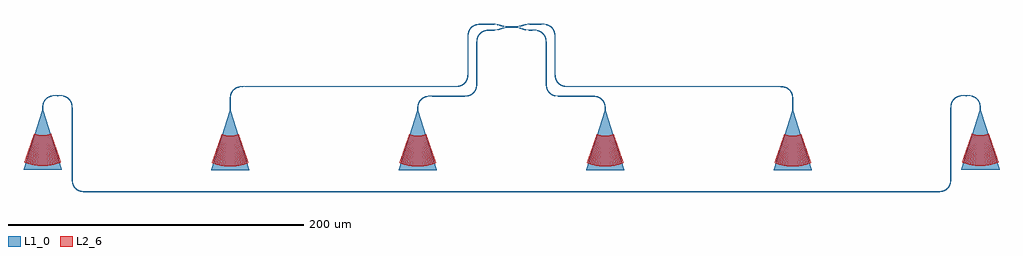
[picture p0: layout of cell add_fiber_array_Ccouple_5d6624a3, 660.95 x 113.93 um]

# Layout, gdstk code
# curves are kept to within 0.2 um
from math import pi, radians
import gdstk
lib = gdstk.Library(unit=1e-6, precision=1e-09)
def R(c, l, rs):  # rectangles x0, y0, x1, y1
    for r in rs: c.add(gdstk.rectangle(r[:2], r[2:], *l))
def P(c, l, *ps):  # polygons
    for p in ps: c.add(gdstk.Polygon(p, *l))
L1_0 = (1, 0)
L2_6 = (2, 6)

coupler_g0p2_l5_cscoupl_ = lib.new_cell('coupler_G0p2_L5_CScoupl_9e7e85dc')
P(coupler_g0p2_l5_cscoupl_, L1_0, [(-10,-1.9),(-10,-1.4),(-8.633,-1.353),(-7.417,-1.209),(-6.25,-0.951),(-3.066,-0.022),(-1.653,0.181),(-0.303,0.248),(5.303,0.248),(6.892,0.157),(8.621,-0.148),(12.033,-1.138),(13.392,-1.333),(15,-1.4),(15,-1.9),(13.596,-1.851),(11.65,-1.567),(8.5,-0.633),(6.952,-0.352),(5.297,-0.252),(-0.44,-0.254),(-1.839,-0.34),(-3.059,-0.531),(-6.033,-1.41),(-7.335,-1.702),(-8.596,-1.851)],
  [(0,0.45),(-1.404,0.499),(-2.665,0.648),(-3.967,0.94),(-7.033,1.838),(-8.392,2.033),(-10,2.1),(-10,2.6),(-8.596,2.551),(-7.335,2.402),(-6.033,2.11),(-2.967,1.212),(-1.608,1.017),(0,0.95),(5.44,0.954),(6.952,1.052),(8.5,1.333),(12.032,2.347),(13.347,2.531),(15,2.6),(15,2.1),(13.392,2.033),(12.033,1.838),(8.709,0.871),(7.346,0.599),(5.451,0.455)])

bend_euler_rnone_a90_p0_ = lib.new_cell('bend_euler_RNone_A90_P0_cdb65609')
P(bend_euler_rnone_a90_p0_, L1_0, [(0,-0.25),(0,0.25),(2.881,0.353),(3.952,0.52),(4.99,0.806),(6.431,1.505),(7.575,2.425),(8.495,3.569),(9.194,5.01),(9.48,6.048),(9.647,7.119),(9.75,10),(10.25,10),(10.158,7.205),(9.797,5.254),(9.457,4.312),(9.066,3.545),(8.5,2.715),(7.928,2.072),(7.285,1.5),(6.455,0.934),(5.688,0.543),(4.746,0.203),(2.795,-0.158)])

straight_l1_n2_csxs_34e_ = lib.new_cell('straight_L1_N2_CSxs_34e_6435d71a')
R(straight_l1_n2_csxs_34e_, L1_0, [(0,-0.25,1,0.25)])

straight_l0p5_n2_csxs_3_ = lib.new_cell('straight_L0p5_N2_CSxs_3_84792e4e')
R(straight_l0p5_n2_csxs_3_, L1_0, [(0,-0.25,0.5,0.25)])

straight_l7_n2_csxs_34e_ = lib.new_cell('straight_L7_N2_CSxs_34e_0dab3578')
R(straight_l7_n2_csxs_34e_, L1_0, [(0,-0.25,7,0.25)])

straight_l4p5_n2_csxs_3_ = lib.new_cell('straight_L4p5_N2_CSxs_3_fdd5b000')
R(straight_l4p5_n2_csxs_3_, L1_0, [(0,-0.25,4.5,0.25)])

grating_coupler_ellipti_ = lib.new_cell('grating_coupler_ellipti_2bfa4f3d')
P(grating_coupler_ellipti_, L1_0, [(40.352,-12.973),(0.471,-0.25),(0.471,0.25),(40.352,12.973),(40.552,12.973),(40.552,-12.973)])
P(grating_coupler_ellipti_, L2_6, [(16.414,-5.811),(16.3,-5.646),(16.82,-4.153),(17.178,-2.617),(17.351,-1.313),(17.409,0),(17.351,1.313),(17.178,2.617),(16.82,4.153),(16.3,5.646),(16.414,5.811),(16.61,5.77),(16.981,4.76),(17.344,3.465),(17.658,1.611),(17.743,0),(17.658,-1.611),(17.344,-3.465),(16.981,-4.76),(16.61,-5.77)],
  [(17.047,-6.03),(16.933,-5.866),(17.473,-4.315),(17.845,-2.718),(18.025,-1.364),(18.085,0),(18.025,1.364),(17.845,2.718),(17.473,4.315),(16.933,5.866),(17.047,6.03),(17.243,5.988),(17.444,5.469),(17.793,4.407),(18.066,3.325),(18.33,1.671),(18.419,0),(18.33,-1.671),(18.066,-3.325),(17.793,-4.407),(17.444,-5.469),(17.243,-5.988)],
  [(17.68,-6.25),(17.566,-6.086),(18.126,-4.477),(18.512,-2.82),(18.699,-1.415),(18.761,0),(18.699,1.415),(18.512,2.82),(18.126,4.477),(17.566,6.086),(17.68,6.25),(17.876,6.208),(17.982,5.94),(18.363,4.846),(18.665,3.729),(19.003,1.733),(19.095,0),(19.003,-1.733),(18.665,-3.729),(18.363,-4.846),(17.982,-5.94),(17.876,-6.208)],
  [(18.313,-6.469),(18.199,-6.304),(18.779,-4.638),(19.179,-2.922),(19.373,-1.466),(19.437,0),(19.373,1.466),(19.179,2.922),(18.779,4.638),(18.199,6.304),(18.313,6.469),(18.509,6.428),(18.619,6.15),(19.013,5.018),(19.326,3.861),(19.676,1.794),(19.771,0),(19.676,-1.794),(19.326,-3.861),(19.013,-5.018),(18.619,-6.15),(18.509,-6.428)],
  [(18.946,-6.689),(18.832,-6.525),(19.432,-4.8),(19.846,-3.024),(20.046,-1.517),(20.113,0),(20.046,1.517),(19.846,3.024),(19.432,4.8),(18.832,6.525),(18.946,6.689),(19.142,6.647),(19.365,6.07),(19.752,4.892),(20.055,3.69),(20.349,1.855),(20.447,0),(20.349,-1.855),(20.055,-3.69),(19.752,-4.892),(19.365,-6.07),(19.142,-6.647)],
  [(19.579,-6.908),(19.465,-6.744),(20.085,-4.961),(20.513,-3.125),(20.72,-1.568),(20.789,0),(20.72,1.568),(20.513,3.125),(20.085,4.961),(19.465,6.744),(19.579,6.908),(19.775,6.866),(20.005,6.27),(20.405,5.053),(20.718,3.812),(21.021,1.917),(21.123,0),(21.021,-1.917),(20.718,-3.812),(20.405,-5.053),(20.005,-6.27),(19.775,-6.866)],
  [(20.212,-7.128),(20.098,-6.964),(20.738,-5.123),(21.18,-3.227),(21.394,-1.619),(21.465,0),(21.394,1.619),(21.18,3.227),(20.738,5.123),(20.098,6.964),(20.212,7.128),(20.408,7.086),(20.646,6.471),(21.058,5.215),(21.381,3.934),(21.694,1.978),(21.799,0),(21.694,-1.978),(21.381,-3.934),(21.058,-5.215),(20.646,-6.471),(20.408,-7.086)],
  [(20.844,-7.347),(20.73,-7.182),(21.391,-5.284),(21.847,-3.329),(22.068,-1.67),(22.141,0),(22.068,1.67),(21.847,3.329),(21.391,5.284),(20.73,7.182),(20.844,7.347),(21.04,7.306),(21.286,6.672),(21.711,5.376),(22.044,4.056),(22.367,2.039),(22.475,0),(22.367,-2.039),(22.044,-4.056),(21.711,-5.376),(21.286,-6.672),(21.04,-7.306)],
  [(21.477,-7.567),(21.363,-7.402),(22.044,-5.446),(22.514,-3.431),(22.741,-1.721),(22.817,0),(22.741,1.721),(22.514,3.431),(22.044,5.446),(21.363,7.402),(21.477,7.567),(21.673,7.526),(21.926,6.871),(22.364,5.538),(22.707,4.177),(23.04,2.1),(23.151,0),(23.04,-2.1),(22.707,-4.177),(22.364,-5.538),(21.926,-6.871),(21.673,-7.526)],
  [(22.11,-7.786),(21.996,-7.621),(22.697,-5.607),(23.181,-3.533),(23.415,-1.773),(23.493,0),(23.415,1.773),(23.181,3.533),(22.697,5.607),(21.996,7.621),(22.11,7.786),(22.306,7.745),(22.566,7.072),(23.017,5.699),(23.37,4.299),(23.712,2.161),(23.827,0),(23.712,-2.161),(23.37,-4.299),(23.017,-5.699),(22.566,-7.072),(22.306,-7.745)],
  [(22.743,-8.006),(22.629,-7.842),(23.35,-5.769),(23.848,-3.634),(24.089,-1.824),(24.169,0),(24.089,1.824),(23.848,3.634),(23.35,5.769),(22.629,7.842),(22.743,8.006),(22.939,7.964),(23.207,7.273),(23.67,5.861),(24.033,4.421),(24.385,2.223),(24.503,0),(24.385,-2.223),(24.033,-4.421),(23.67,-5.861),(23.207,-7.273),(22.939,-7.964)],
  [(23.376,-8.225),(23.262,-8.06),(24.003,-5.93),(24.515,-3.736),(24.763,-1.875),(24.845,0),(24.763,1.875),(24.515,3.736),(24.003,5.93),(23.262,8.06),(23.376,8.225),(23.572,8.184),(23.847,7.474),(24.323,6.022),(24.696,4.543),(25.058,2.284),(25.179,0),(25.058,-2.284),(24.696,-4.543),(24.323,-6.022),(23.847,-7.474),(23.572,-8.184)],
  [(24.009,-8.445),(23.895,-8.28),(24.657,-6.092),(25.182,-3.838),(25.436,-1.926),(25.521,0),(25.436,1.926),(25.182,3.838),(24.657,6.092),(23.895,8.28),(24.009,8.445),(24.205,8.404),(24.619,7.305),(24.977,6.184),(25.359,4.665),(25.731,2.346),(25.855,0),(25.731,-2.346),(25.359,-4.665),(24.977,-6.184),(24.619,-7.305),(24.205,-8.404)],
  [(24.642,-8.664),(24.528,-8.499),(25.31,-6.253),(25.849,-3.94),(26.11,-1.977),(26.197,0),(26.11,1.977),(25.849,3.94),(25.31,6.253),(24.528,8.499),(24.642,8.664),(24.838,8.623),(25.263,7.496),(25.63,6.345),(26.022,4.787),(26.404,2.407),(26.531,0),(26.404,-2.407),(26.022,-4.787),(25.63,-6.345),(25.263,-7.496),(24.838,-8.623)],
  [(25.275,-8.884),(25.161,-8.72),(25.963,-6.415),(26.516,-4.041),(26.784,-2.028),(26.873,0),(26.784,2.028),(26.516,4.041),(25.963,6.415),(25.161,8.72),(25.275,8.884),(25.471,8.842),(25.907,7.686),(26.283,6.507),(26.686,4.908),(27.076,2.468),(27.207,0),(27.076,-2.468),(26.686,-4.908),(26.283,-6.507),(25.907,-7.686),(25.471,-8.842)],
  [(25.908,-9.103),(25.794,-8.939),(26.237,-7.767),(26.616,-6.576),(26.932,-5.367),(27.183,-4.143),(27.458,-2.079),(27.549,0),(27.458,2.079),(27.183,4.143),(26.932,5.367),(26.616,6.576),(26.237,7.767),(25.794,8.939),(25.908,9.103),(26.104,9.061),(26.551,7.877),(26.936,6.668),(27.349,5.03),(27.749,2.529),(27.849,1.266),(27.883,0),(27.849,-1.266),(27.749,-2.529),(27.349,-5.03),(26.936,-6.668),(26.551,-7.877),(26.104,-9.061)],
  [(26.54,-9.323),(26.426,-9.158),(26.88,-7.958),(27.269,-6.738),(27.593,-5.498),(27.85,-4.245),(28.131,-2.13),(28.225,0),(28.131,2.13),(27.85,4.245),(27.593,5.498),(27.269,6.738),(26.88,7.958),(26.426,9.158),(26.54,9.323),(26.736,9.282),(27.194,8.068),(27.706,6.413),(28.012,5.152),(28.25,3.876),(28.422,2.59),(28.524,1.297),(28.559,0),(28.524,-1.297),(28.422,-2.59),(28.25,-3.876),(28.012,-5.152),(27.706,-6.413),(27.194,-8.068),(26.736,-9.282)],
  [(27.173,-9.542),(27.059,-9.377),(27.524,-8.149),(27.922,-6.9),(28.254,-5.63),(28.517,-4.347),(28.805,-2.181),(28.901,0),(28.805,2.181),(28.517,4.347),(28.254,5.63),(27.922,6.9),(27.524,8.149),(27.059,9.377),(27.173,9.542),(27.369,9.501),(27.838,8.259),(28.362,6.565),(28.675,5.274),(28.919,3.968),(29.095,2.652),(29.199,1.328),(29.235,0),(29.199,-1.328),(29.095,-2.652),(28.919,-3.968),(28.675,-5.274),(28.362,-6.565),(27.838,-8.259),(27.369,-9.501)],
  [(27.806,-9.762),(27.692,-9.597),(28.168,-8.339),(28.575,-7.061),(28.914,-5.762),(29.184,-4.448),(29.479,-2.232),(29.577,0),(29.479,2.232),(29.184,4.448),(28.914,5.762),(28.575,7.061),(28.168,8.339),(27.692,9.597),(27.806,9.762),(28.002,9.721),(28.482,8.449),(28.895,7.153),(29.338,5.396),(29.587,4.06),(29.767,2.713),(29.874,1.358),(29.911,0),(29.874,-1.358),(29.767,-2.713),(29.587,-4.06),(29.338,-5.396),(28.895,-7.153),(28.482,-8.449),(28.002,-9.721)],
  [(28.439,-9.981),(28.325,-9.816),(28.812,-8.53),(29.228,-7.223),(29.575,-5.894),(29.851,-4.55),(30.153,-2.283),(30.253,0),(30.153,2.283),(29.851,4.55),(29.575,5.894),(29.228,7.223),(28.812,8.53),(28.325,9.816),(28.439,9.981),(28.635,9.94),(29.126,8.64),(29.548,7.315),(30.001,5.518),(30.256,4.151),(30.44,2.774),(30.549,1.389),(30.587,0),(30.549,-1.389),(30.44,-2.774),(30.256,-4.151),(30.001,-5.518),(29.673,-6.869),(29.126,-8.64),(28.635,-9.94)],
  [(29.072,-10.201),(28.958,-10.037),(29.455,-8.721),(29.881,-7.384),(30.236,-6.026),(30.518,-4.652),(30.826,-2.334),(30.929,0),(30.826,2.334),(30.518,4.652),(30.236,6.026),(29.881,7.384),(29.455,8.721),(28.958,10.037),(29.072,10.201),(29.268,10.159),(29.769,8.831),(30.329,7.02),(30.664,5.639),(30.925,4.243),(31.113,2.836),(31.225,1.42),(31.263,0),(31.225,-1.42),(31.113,-2.836),(30.925,-4.243),(30.664,-5.639),(30.329,-7.02),(29.769,-8.831),(29.268,-10.159)],
  [(29.705,-10.42),(29.591,-10.255),(30.099,-8.912),(30.534,-7.546),(30.897,-6.158),(31.185,-4.754),(31.5,-2.385),(31.605,0),(31.5,2.385),(31.185,4.754),(30.897,6.158),(30.534,7.546),(30.099,8.912),(29.591,10.255),(29.705,10.42),(29.901,10.379),(30.413,9.022),(30.985,7.172),(31.327,5.761),(31.593,4.335),(31.786,2.896),(31.9,1.45),(31.939,0),(31.9,-1.45),(31.786,-2.896),(31.593,-4.335),(31.327,-5.761),(30.985,-7.172),(30.413,-9.022),(29.901,-10.379)],
  [(30.338,-10.64),(30.224,-10.475),(30.743,-9.103),(31.187,-7.707),(31.558,-6.289),(31.852,-4.855),(32.174,-2.437),(32.281,0),(32.174,2.437),(31.852,4.855),(31.558,6.289),(31.187,7.707),(30.743,9.103),(30.224,10.475),(30.338,10.64),(30.534,10.599),(31.057,9.213),(31.641,7.324),(31.99,5.883),(32.262,4.426),(32.458,2.958),(32.575,1.481),(32.615,0),(32.575,-1.481),(32.458,-2.958),(32.262,-4.426),(31.99,-5.883),(31.641,-7.324),(31.057,-9.213),(30.534,-10.599)],
  [(30.971,-10.859),(30.857,-10.695),(31.387,-9.293),(31.84,-7.869),(32.219,-6.421),(32.519,-4.957),(32.848,-2.488),(32.957,0),(32.848,2.488),(32.519,4.957),(32.219,6.421),(31.84,7.869),(31.387,9.293),(30.857,10.695),(30.971,10.859),(31.167,10.817),(31.701,9.403),(32.297,7.476),(32.653,6.005),(32.931,4.518),(33.131,3.019),(33.25,1.512),(33.291,0),(33.25,-1.512),(33.131,-3.019),(32.931,-4.518),(32.653,-6.005),(32.297,-7.476),(31.701,-9.403),(31.167,-10.817)],
  [(31.604,-11.079),(31.49,-10.915),(32.03,-9.484),(32.493,-8.03),(32.879,-6.553),(33.186,-5.059),(33.521,-2.539),(33.633,0),(33.521,2.539),(33.186,5.059),(32.879,6.553),(32.493,8.03),(32.03,9.484),(31.49,10.915),(31.604,11.079),(31.8,11.037),(32.344,9.594),(32.952,7.627),(33.316,6.127),(33.6,4.61),(33.804,3.081),(33.925,1.542),(33.967,0),(33.925,-1.542),(33.804,-3.081),(33.6,-4.61),(33.316,-6.127),(32.952,-7.627),(32.344,-9.594),(31.8,-11.037)],
  [(32.237,-11.298),(32.123,-11.133),(32.674,-9.675),(33.146,-8.192),(33.54,-6.685),(33.853,-5.161),(34.195,-2.59),(34.309,0),(34.195,2.59),(33.853,5.161),(33.54,6.685),(33.146,8.192),(32.674,9.675),(32.123,11.133),(32.237,11.298),(32.433,11.257),(32.988,9.785),(33.608,7.779),(33.979,6.249),(34.268,4.701),(34.477,3.142),(34.601,1.573),(34.643,0),(34.601,-1.573),(34.477,-3.142),(34.268,-4.701),(33.979,-6.249),(33.608,-7.779),(32.988,-9.785),(32.433,-11.257)],
  [(32.869,-11.518),(32.755,-11.353),(33.318,-9.866),(33.799,-8.353),(34.201,-6.817),(34.52,-5.262),(34.869,-2.641),(34.985,0),(34.869,2.641),(34.52,5.262),(34.201,6.817),(33.799,8.353),(33.318,9.866),(32.755,11.353),(32.869,11.518),(33.065,11.477),(33.632,9.976),(34.264,7.931),(34.642,6.37),(34.937,4.793),(35.149,3.203),(35.276,1.604),(35.319,0),(35.276,-1.604),(35.149,-3.203),(34.937,-4.793),(34.642,-6.37),(34.264,-7.931),(33.632,-9.976),(33.065,-11.477)],
  [(33.502,-11.738),(33.388,-11.573),(33.962,-10.056),(34.453,-8.515),(34.862,-6.949),(35.187,-5.364),(35.543,-2.692),(35.661,0),(35.543,2.692),(35.187,5.364),(34.862,6.949),(34.453,8.515),(33.962,10.056),(33.388,11.573),(33.502,11.738),(33.698,11.697),(34.276,10.166),(34.773,8.607),(35.305,6.492),(35.606,4.885),(35.822,3.264),(35.951,1.634),(35.995,0),(35.951,-1.634),(35.822,-3.264),(35.606,-4.885),(35.305,-6.492),(34.773,-8.607),(34.276,-10.166),(33.698,-11.697)],
  [(34.135,-11.957),(34.021,-11.792),(34.605,-10.247),(35.106,-8.676),(35.523,-7.08),(35.854,-5.466),(36.216,-2.743),(36.337,0),(36.216,2.743),(35.854,5.466),(35.523,7.08),(35.106,8.676),(34.605,10.247),(34.021,11.792),(34.135,11.957),(34.331,11.916),(34.919,10.357),(35.576,8.233),(35.968,6.614),(36.274,4.976),(36.495,3.325),(36.626,1.665),(36.671,0),(36.626,-1.665),(36.495,-3.325),(36.274,-4.976),(35.968,-6.614),(35.576,-8.233),(34.919,-10.357),(34.331,-11.916)],
  [(34.768,-12.177),(34.654,-12.013),(35.249,-10.438),(35.759,-8.838),(36.183,-7.212),(36.521,-5.568),(36.89,-2.794),(37.013,0),(36.89,2.794),(36.521,5.568),(36.183,7.212),(35.759,8.838),(35.249,10.438),(34.654,12.013),(34.768,12.177),(34.964,12.135),(35.563,10.548),(36.232,8.385),(36.631,6.736),(36.943,5.068),(37.168,3.387),(37.301,1.696),(37.347,0),(37.301,-1.696),(37.168,-3.387),(36.943,-5.068),(36.631,-6.736),(36.232,-8.385),(35.563,-10.548),(34.964,-12.135)],
  [(35.401,-12.396),(35.287,-12.231),(35.893,-10.629),(36.412,-8.999),(36.844,-7.344),(37.188,-5.669),(37.564,-2.845),(37.689,0),(37.564,2.845),(37.188,5.669),(36.844,7.344),(36.412,8.999),(35.893,10.629),(35.287,12.231),(35.401,12.396),(35.597,12.355),(36.207,10.739),(36.732,9.091),(37.295,6.858),(37.612,5.16),(37.84,3.448),(37.977,1.726),(38.023,0),(37.977,-1.726),(37.84,-3.448),(37.612,-5.16),(37.295,-6.858),(36.732,-9.091),(36.207,-10.739),(35.597,-12.355)])

straight_l6p5_n2_csxs_3_ = lib.new_cell('straight_L6p5_N2_CSxs_3_968b970e')
R(straight_l6p5_n2_csxs_3_, L1_0, [(0,-0.25,6.5,0.25)])

straight_l141_n2_csxs_3_ = lib.new_cell('straight_L141_N2_CSxs_3_6c9ed5d7')
R(straight_l141_n2_csxs_3_, L1_0, [(0,-0.25,141,0.25)])

straight_l17p721_n2_csx_ = lib.new_cell('straight_L17p721_N2_CSx_fee26a1d')
R(straight_l17p721_n2_csx_, L1_0, [(0,-0.25,17.721,0.25)])

straight_l20_n2_csxs_34_ = lib.new_cell('straight_L20_N2_CSxs_34_8efa7fac')
R(straight_l20_n2_csxs_34_, L1_0, [(0,-0.25,20,0.25)])

straight_l24p221_n2_csx_ = lib.new_cell('straight_L24p221_N2_CSx_d0f37b93')
R(straight_l24p221_n2_csx_, L1_0, [(0,-0.25,24.221,0.25)])

straight_l45p081_n2_csx_ = lib.new_cell('straight_L45p081_N2_CSx_518dce4a')
R(straight_l45p081_n2_csx_, L1_0, [(0,-0.25,45.081,0.25)])

straight_l575_n2_csxs_3_ = lib.new_cell('straight_L575_N2_CSxs_3_90d9ef06')
R(straight_l575_n2_csxs_3_, L1_0, [(0,-0.25,575,0.25)])

add_fiber_array_ccouple_ = lib.new_cell('add_fiber_array_Ccouple_5d6624a3')
add_fiber_array_ccouple_.add(gdstk.Reference(coupler_g0p2_l5_cscoupl_, (0,0)))
add_fiber_array_ccouple_.add(gdstk.Reference(bend_euler_rnone_a90_p0_, (-21,-11.65), rotation=pi/2, x_reflection=True))
add_fiber_array_ccouple_.add(gdstk.Reference(straight_l1_n2_csxs_34e_, (-11,-1.65), x_reflection=True))
add_fiber_array_ccouple_.add(gdstk.Reference(straight_l0p5_n2_csxs_3_, (-21,-11.65), rotation=3*pi/2, x_reflection=True))
add_fiber_array_ccouple_.add(gdstk.Reference(bend_euler_rnone_a90_p0_, (-27,-7.65), rotation=pi/2, x_reflection=True))
add_fiber_array_ccouple_.add(gdstk.Reference(straight_l7_n2_csxs_34e_, (-17,2.35), x_reflection=True))
add_fiber_array_ccouple_.add(gdstk.Reference(straight_l4p5_n2_csxs_3_, (-27,-7.65), rotation=3*pi/2, x_reflection=True))
add_fiber_array_ccouple_.add(gdstk.Reference(bend_euler_rnone_a90_p0_, (26,-11.65), rotation=pi/2))
add_fiber_array_ccouple_.add(gdstk.Reference(straight_l1_n2_csxs_34e_, (16,-1.65), rotation=pi))
add_fiber_array_ccouple_.add(gdstk.Reference(straight_l0p5_n2_csxs_3_, (26,-11.65), rotation=3*pi/2))
add_fiber_array_ccouple_.add(gdstk.Reference(bend_euler_rnone_a90_p0_, (32,-7.65), rotation=pi/2))
add_fiber_array_ccouple_.add(gdstk.Reference(straight_l7_n2_csxs_34e_, (22,2.35), rotation=pi))
add_fiber_array_ccouple_.add(gdstk.Reference(straight_l4p5_n2_csxs_3_, (32,-7.65), rotation=3*pi/2))
add_fiber_array_ccouple_.add(gdstk.Reference(grating_coupler_ellipti_, (-188,-55.9), rotation=3*pi/2))
add_fiber_array_ccouple_.add(gdstk.Reference(grating_coupler_ellipti_, (-61,-55.9), rotation=3*pi/2))
add_fiber_array_ccouple_.add(gdstk.Reference(grating_coupler_ellipti_, (66,-55.9), rotation=3*pi/2))
add_fiber_array_ccouple_.add(gdstk.Reference(grating_coupler_ellipti_, (193,-55.9), rotation=3*pi/2))
add_fiber_array_ccouple_.add(gdstk.Reference(bend_euler_rnone_a90_p0_, (183,-39.871), x_reflection=True))
add_fiber_array_ccouple_.add(gdstk.Reference(straight_l6p5_n2_csxs_3_, (193,-49.871), rotation=3*pi/2, x_reflection=True))
add_fiber_array_ccouple_.add(gdstk.Reference(bend_euler_rnone_a90_p0_, (32,-29.871), rotation=3*pi/2))
add_fiber_array_ccouple_.add(gdstk.Reference(straight_l141_n2_csxs_3_, (42,-39.871)))
add_fiber_array_ccouple_.add(gdstk.Reference(straight_l17p721_n2_csx_, (32,-29.871), rotation=pi/2))
add_fiber_array_ccouple_.add(gdstk.Reference(bend_euler_rnone_a90_p0_, (56,-46.371), x_reflection=True))
add_fiber_array_ccouple_.add(gdstk.Reference(bend_euler_rnone_a90_p0_, (26,-36.371), rotation=3*pi/2))
add_fiber_array_ccouple_.add(gdstk.Reference(straight_l20_n2_csxs_34_, (36,-46.371)))
add_fiber_array_ccouple_.add(gdstk.Reference(straight_l24p221_n2_csx_, (26,-36.371), rotation=pi/2))
add_fiber_array_ccouple_.add(gdstk.Reference(bend_euler_rnone_a90_p0_, (-51,-46.371), rotation=pi))
add_fiber_array_ccouple_.add(gdstk.Reference(bend_euler_rnone_a90_p0_, (-21,-36.371), rotation=3*pi/2, x_reflection=True))
add_fiber_array_ccouple_.add(gdstk.Reference(straight_l20_n2_csxs_34_, (-31,-46.371), rotation=pi, x_reflection=True))
add_fiber_array_ccouple_.add(gdstk.Reference(straight_l24p221_n2_csx_, (-21,-36.371), rotation=pi/2, x_reflection=True))
add_fiber_array_ccouple_.add(gdstk.Reference(bend_euler_rnone_a90_p0_, (-178,-39.871), rotation=pi))
add_fiber_array_ccouple_.add(gdstk.Reference(straight_l6p5_n2_csxs_3_, (-188,-49.871), rotation=3*pi/2))
add_fiber_array_ccouple_.add(gdstk.Reference(bend_euler_rnone_a90_p0_, (-27,-29.871), rotation=3*pi/2, x_reflection=True))
add_fiber_array_ccouple_.add(gdstk.Reference(straight_l141_n2_csxs_3_, (-37,-39.871), rotation=pi, x_reflection=True))
add_fiber_array_ccouple_.add(gdstk.Reference(straight_l17p721_n2_csx_, (-27,-29.871), rotation=pi/2, x_reflection=True))
add_fiber_array_ccouple_.add(gdstk.Reference(grating_coupler_ellipti_, (-315,-55.529), rotation=3*pi/2))
add_fiber_array_ccouple_.add(gdstk.Reference(grating_coupler_ellipti_, (320,-55.529), rotation=3*pi/2))
add_fiber_array_ccouple_.add(gdstk.Reference(bend_euler_rnone_a90_p0_, (-305,-46), rotation=pi))
add_fiber_array_ccouple_.add(gdstk.Reference(bend_euler_rnone_a90_p0_, (-295,-56), rotation=pi/2))
add_fiber_array_ccouple_.add(gdstk.Reference(bend_euler_rnone_a90_p0_, (-285,-111.081), rotation=pi, x_reflection=True))
add_fiber_array_ccouple_.add(gdstk.Reference(straight_l45p081_n2_csx_, (-295,-101.081), rotation=pi/2, x_reflection=True))
add_fiber_array_ccouple_.add(gdstk.Reference(bend_euler_rnone_a90_p0_, (300,-101.081), rotation=3*pi/2, x_reflection=True))
add_fiber_array_ccouple_.add(gdstk.Reference(straight_l575_n2_csxs_3_, (290,-111.081), rotation=pi, x_reflection=True))
add_fiber_array_ccouple_.add(gdstk.Reference(bend_euler_rnone_a90_p0_, (310,-46), rotation=pi))
add_fiber_array_ccouple_.add(gdstk.Reference(straight_l45p081_n2_csx_, (300,-56), rotation=3*pi/2))
add_fiber_array_ccouple_.add(gdstk.Reference(bend_euler_rnone_a90_p0_, (320,-56), rotation=pi/2))

lib.write_gds('add_fiber_array_Ccouple_5d6624a3.gds')
